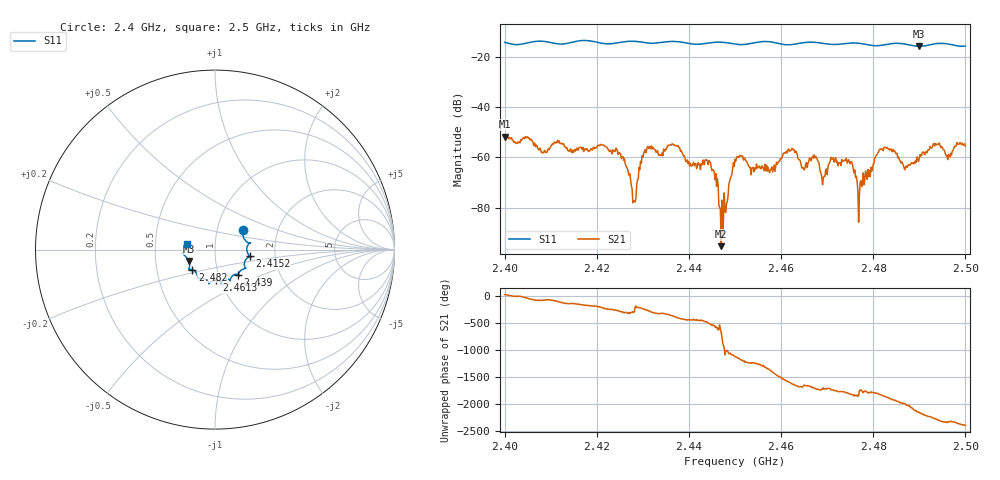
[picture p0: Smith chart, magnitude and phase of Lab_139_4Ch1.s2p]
# Hz S RI R
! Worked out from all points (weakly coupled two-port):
!   601 points, 2.4 GHz to 2.5 GHz, reference 50 ohm
!   highest |S21| = -51.74 dB at 2.4 GHz (marker M1); lowest = -95.3 dB at 2.447 GHz (marker M2)
!   lowest |S11| = -15.9 dB at 2.49 GHz (marker M3), VSWR 1.38, Z = 37 - j4.86 ohm
!   |S11| at or under -10 dB: start of sweep to end of sweep
!   S12 and S22 are empty: the file has one direction only
!   S11 on the Smith chart (normalised r, x): 2.4 GHz: 1.33, +0.31; 2.4152 GHz: 1.48, -0.11; 2.439 GHz: 1.24, -0.36; 2.4613 GHz: 0.96, -0.34; 2.482 GHz: 0.76, -0.17; 2.5 GHz: 0.73, +0.05
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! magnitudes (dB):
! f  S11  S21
! 2.4 GHz  -14.4  -51.7
! 2.4152 GHz  -14.1  -56.9
! 2.4167 GHz  -13.6  -56.1
! 2.4247 GHz  -14.5  -58.8
! 2.428 GHz  -13.9  -77.4
! 2.4307 GHz  -14.5  -58.2
! 2.4333 GHz  -14.5  -58.6
! 2.439 GHz  -14.5  -59.4
! 2.4442 GHz  -14.6  -62.9
! 2.447 GHz  -14.3  -95.3
! 2.45 GHz  -15.0  -60.8
! 2.4578 GHz  -14.2  -64.8
! 2.4613 GHz  -15.3  -58.3
! 2.4667 GHz  -14.3  -60.4
! 2.469 GHz  -14.7  -70.8
! 2.475 GHz  -14.6  -62.6
! 2.4772 GHz  -14.8  -69.8
! 2.482 GHz  -15.5  -56.8
! 2.4833 GHz  -15.0  -56.6
! 2.487 GHz  -15.1  -63.9
! 2.49 GHz  -15.9  -60.4
! 2.5 GHz  -15.8  -55.6
